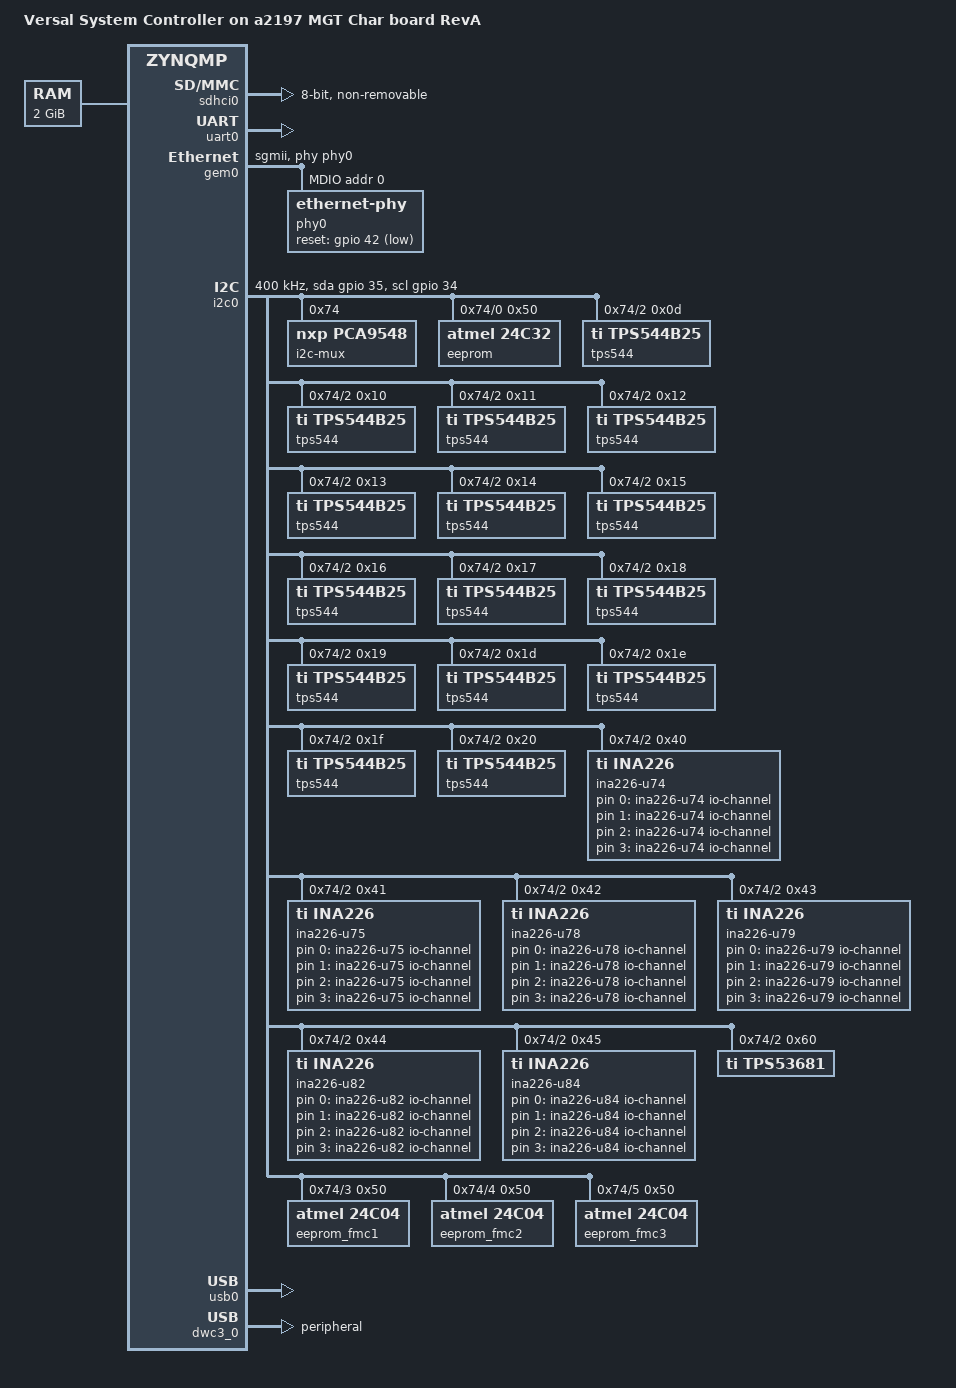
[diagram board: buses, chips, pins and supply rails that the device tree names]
// SPDX-License-Identifier: GPL-2.0
/*
 * dts file for Xilinx Versal a2197 RevA System Controller on MGT
 *
 * (C) Copyright 2019, Xilinx, Inc.
 *
 * Michal Simek <michal.simek@amd.com>
 */
/dts-v1/;

#include "zynqmp.dtsi"
#include "zynqmp-clk-ccf.dtsi"
#include <dt-bindings/gpio/gpio.h>

/ {
	model = "Versal System Controller on a2197 MGT Char board RevA";
	compatible = "xlnx,zynqmp-g-a2197-00-revA", "xlnx,zynqmp-a2197-revA",
		     "xlnx,zynqmp-a2197", "xlnx,zynqmp";

	aliases {
		ethernet0 = &gem0;
		i2c0 = &i2c0;
		mmc0 = &sdhci0;
		nvmem0 = &eeprom;
		rtc0 = &rtc;
		serial0 = &uart0;
		serial1 = &dcc;
		usb0 = &usb0;
	};

	chosen {
		bootargs = "earlycon";
		stdout-path = "serial0:115200n8";
	};

	memory@0 {
		device_type = "memory";
		reg = <0x0 0x0 0x0 0x80000000>;
	};

	ina226-u74 {
		compatible = "iio-hwmon";
		io-channels = <&u74 0>, <&u74 1>, <&u74 2>, <&u74 3>;
	};
	ina226-u75 {
		compatible = "iio-hwmon";
		io-channels = <&u75 0>, <&u75 1>, <&u75 2>, <&u75 3>;
	};
	ina226-u78 {
		compatible = "iio-hwmon";
		io-channels = <&u78 0>, <&u78 1>, <&u78 2>, <&u78 3>;
	};
	ina226-u79 {
		compatible = "iio-hwmon";
		io-channels = <&u79 0>, <&u79 1>, <&u79 2>, <&u79 3>;
	};
	ina226-u82 {
		compatible = "iio-hwmon";
		io-channels = <&u82 0>, <&u82 1>, <&u82 2>, <&u82 3>;
	};
	ina226-u84 {
		compatible = "iio-hwmon";
		io-channels = <&u84 0>, <&u84 1>, <&u84 2>, <&u84 3>;
	};
};

&sdhci0 { /* emmc MIO 13-23 16GB */
	status = "okay";
	non-removable;
	disable-wp;
	bus-width = <8>;
	xlnx,mio-bank = <0>;
};

&uart0 { /* uart0 MIO38-39 */
	status = "okay";
};

&gem0 { /* eth MDIO 76/77 */
	status = "okay";
	phy-handle = <&phy0>;
	phy-mode = "sgmii";
	is-internal-pcspma;
	mdio: mdio {
		#address-cells = <1>;
		#size-cells = <0>;
		phy0: ethernet-phy@0 { /* marwell m88e1512 */
			reg = <0>;
			reset-gpios = <&gpio 42 GPIO_ACTIVE_LOW>;
/*		xlnx,phy-type = <PHY_TYPE_SGMII>; */
		};
	};
};

&gpio {
	status = "okay";
	gpio-line-names = "", "", "", "", "", /* 0 - 4 */
		  "", "", "", "", "", /* 5 - 9 */
		  "", "", "", "EMMC_DAT0", "EMMC_DAT1", /* 10 - 14 */
		  "EMMC_DAT2", "EMMC_DAT3", "EMMC_DAT4", "EMMC_DAT5", "EMMC_DAT6", /* 15 - 19 */
		  "EMMC_DAT7", "EMMC_CMD", "EMMC_CLK", "EMMC_RST_B", "", /* 20 - 24 */
		  "", "", "", "", "", /* 25 - 29 */
		  "", "", "", "", "LP_I2C0_PMC_SCL", /* 30 - 34 */
		  "LP_I2C0_PMC_SDA", "", "", "UART0_RXD_IN", "UART0_TXD_OUT", /* 35 - 39 */
		  "", "", "ETH_RESET_B", "", "", /* 40 - 44 */
		  "", "", "", "", "", /* 45 - 49 */
		  "", "", "USB0_CLK", "USB0_DIR", "USB0_DATA2", /* 50 - 54 */
		  "USB0_NXT", "USB0_DATA0", "USB0_DATA1", "USB0_STP", "USB0_DATA3", /* 55 - 59 */
		  "USB0_DATA4", "USB0_DATA5", "USB0_DATA6", "USB0_DATA7", "", /* 60 - 64 */
		  "", "", "", "", "", /* 65 - 69 */
		  "", "", "", "", "", /* 70 - 74 */
		  "", "ETH_MDC", "ETH_MDIO", /* 75 - 77, MIO end and EMIO start */
		  "SYSCTLR_VERSAL_MODE0", "SYSCTLR_VERSAL_MODE1", /* 78 - 79 */
		  "SYSCTLR_VERSAL_MODE2", "SYSCTLR_VERSAL_MODE3", "SYSCTLR_POR_B_LS", "DC_PRSNT", "SYSCTLR_POWER_EN", /* 80 - 84 */
		  "SYSCTLR_JTAG_S0", "SYSCTLR_JTAG_S1", "SYSCTLR_IIC_MUX0_RESET_B", "SYSCTLR_IIC_MUX1_RESET_B", "SYSCTLR_LP_I2C_SM_ALERT", /* 85 -89 */
		  "SYSCTLR_GPIO0", "SYSCTLR_GPIO1", "SYSCTLR_GPIO2", "SYSCTLR_GPIO3", "SYSCTLR_GPIO4", /* 90 - 94 */
		  "SYSCTLR_GPIO5", "VCCO_500_RBIAS", "VCCO_501_RBIAS", "VCCO_502_RBIAS", "VCCO_500_RBIAS_LED", /* 95 - 99 */
		  "VCCO_501_RBIAS_LED", "VCCO_502_RBIAS_LED", "SYSCTLR_VCCINT_EN", "SYSCTLR_VCC_IO_SOC_EN", "SYSCTLR_VCC_PMC_EN", /* 100 - 104 */
		  "SYSCTLR_VCC_RAM_EN", "SYSCTLR_VCC_PSLP_EN", "SYSCTLR_VCC_PSFP_EN", "SYSCTLR_VCCAUX_EN", "SYSCTLR_VCCAUX_PMC_EN", /* 105 - 109 */
		  "SYSCTLR_VCCO_500_EN", "SYSCTLR_VCCO_501_EN", "SYSCTLR_VCCO_502_EN", "SYSCTLR_VCCO_503_EN", "SYSCTLR_VCC1V8_EN", /* 110 - 114 */
		  "SYSCTLR_VCC3V3_EN", "SYSCTLR_VCC1V2_DDR4_EN", "SYSCTLR_VCC1V1_LP4_EN", "SYSCTLR_VDD1_1V8_LP4_EN", "SYSCTLR_VADJ_FMC_EN", /* 115 - 119 */
		  "SYSCTLR_MGTYAVCC_EN", "SYSCTLR_MGTYAVTT_EN", "SYSCTLR_MGTYVCCAUX_EN", "SYSCTLR_UTIL_1V13_EN", "SYSCTLR_UTIL_1V8_EN", /* 120 - 124 */
		  "SYSCTLR_UTIL_2V5_EN", "FMCP1_FMC_PRSNT_M2C_B", "FMCP2_FMC_PRSNT_M2C_B", "FMCP1_FMCP_PRSNT_M2C_B", "FMCP2_FMCP_PRSNT_M2C_B", /* 125 - 129 */
		  "PMBUS1_INA226_ALERT", "PMBUS2_INA226_ALERT", "SYSCTLR_USBC_SBU1", "SYSCTLR_USBC_SBU2", "TI_CABLE1", /* 130 - 134 */
		  "TI_CABLE2", "SYSCTLR_MIC2005_EN_B", "SYSCTLR_MIC2005_FAULT_B", "SYSCTLR_TUSB320_INT_B", "SYSCTLR_TUSB320_ID", /* 135 - 139 */
		  "PMBUS1_ALERT", "PMBUS2_ALERT", "SYSCTLR_ETH_RESET_B", "SYSCTLR_VCC0V85_TG", "MAX6643_OT_B", /* 140 - 144 */
		  "MAX6643_FANFINAL_B", "MAX6643_FULLSPD", "", "", "", /* 145 - 149 */
		  "", "", "", "", "", /* 150 - 154 */
		  "", "", "", "", "", /* 155 - 159 */
		  "", "", "", "", "", /* 160 - 164 */
		  "", "", "", "", "", /* 165 - 169 */
		  "", "", "", ""; /* 170 - 173 */
};

&i2c0 { /* MIO 34-35 - can't stay here */
	status = "okay";
	clock-frequency = <400000>;
	scl-gpios = <&gpio 34 (GPIO_ACTIVE_HIGH | GPIO_OPEN_DRAIN)>;
	sda-gpios = <&gpio 35 (GPIO_ACTIVE_HIGH | GPIO_OPEN_DRAIN)>;
	i2c-mux@74 { /* u94 */
		compatible = "nxp,pca9548";
		#address-cells = <1>;
		#size-cells = <0>;
		reg = <0x74>;
		/* FIXME reset connected to SYSCTRL_IIC_MUX0_RESET */
		i2c@0 {
			#address-cells = <1>;
			#size-cells = <0>;
			reg = <0>;
			/* Use for storing information about SC board */
			eeprom: eeprom@50 { /* u96 - 24LC32A - 256B */
				compatible = "atmel,24c32";
				reg = <0x50>;
			};
		};
		i2c@1 { /* CM_I2C_SCL - Samtec */
			#address-cells = <1>;
			#size-cells = <0>;
			reg = <1>;
		};
		i2c@2 { /* PMBUS - AFX_PMBUS */
			#address-cells = <1>;
			#size-cells = <0>;
			reg = <2>;
			tps544@d { /* u85 */
				compatible = "ti,tps544b25";
				reg = <0xd>;
			};
			tps544@10 { /* u73 */
				compatible = "ti,tps544b25";
				reg = <0x10>;
			};
			tps544@11 { /* u76 */
				compatible = "ti,tps544b25";
				reg = <0x11>;
			};
			tps544@12 { /* u77 */
				compatible = "ti,tps544b25";
				reg = <0x12>;
			};
			tps544@13 { /* u80 */
				compatible = "ti,tps544b25";
				reg = <0x13>;
			};
			tps544@14 { /* u81 */
				compatible = "ti,tps544b25";
				reg = <0x14>;
			};
			tps544@15 { /* u83 */
				compatible = "ti,tps544b25";
				reg = <0x15>;
			};
			tps544@16 { /* u63 */
				compatible = "ti,tps544b25";
				reg = <0x16>;
			};
			tps544@17 { /* u66 */
				compatible = "ti,tps544b25";
				reg = <0x17>;
			};
			tps544@18 { /* u67 */
				compatible = "ti,tps544b25";
				reg = <0x18>;
			};
			tps544@19 { /* u69 */
				compatible = "ti,tps544b25";
				reg = <0x19>;
			};
			tps544@1d { /* u88 */
				compatible = "ti,tps544b25";
				reg = <0x1d>;
			};
			tps544@1e { /* u89 */
				compatible = "ti,tps544b25";
				reg = <0x1e>;
			};
			tps544@1f { /* u87 */
				compatible = "ti,tps544b25";
				reg = <0x1f>;
			};
			tps544@20 { /* u71 */
				compatible = "ti,tps544b25";
				reg = <0x20>;
			};
			u74: ina226@40 { /* u74 */
				compatible = "ti,ina226";
				#io-channel-cells = <1>;
				label = "ina226-u74";
				reg = <0x40>;
				shunt-resistor = <1000>;
			};
			u75: ina226@41 { /* u75 */
				compatible = "ti,ina226";
				#io-channel-cells = <1>;
				label = "ina226-u75";
				reg = <0x41>;
				shunt-resistor = <1000>;
			};
			u78: ina226@42 { /* u78 */
				compatible = "ti,ina226";
				#io-channel-cells = <1>;
				label = "ina226-u78";
				reg = <0x42>;
				shunt-resistor = <5000>;
			};
			u79: ina226@43 { /* u79 */
				compatible = "ti,ina226";
				#io-channel-cells = <1>;
				label = "ina226-u79";
				reg = <0x43>;
				shunt-resistor = <1000>;
			};
			u82: ina226@44 { /* u82 */
				compatible = "ti,ina226";
				#io-channel-cells = <1>;
				label = "ina226-u82";
				reg = <0x44>;
				shunt-resistor = <1000>;
			};
			u84: ina226@45 { /* u84 */
				compatible = "ti,ina226";
				#io-channel-cells = <1>;
				label = "ina226-u84";
				reg = <0x45>;
				shunt-resistor = <5000>;
			};
			tps53681@60 { /* u53 - 0xc0 - FIXME name - don't know what it does - also vcc_io_soc */
				compatible = "ti,tps53681", "ti,tps53679";
				reg = <0x60>;
			};
		};
		i2c@3 { /* fmc1 via JA2G */
			#address-cells = <1>;
			#size-cells = <0>;
			reg = <3>;
			eeprom_fmc1: eeprom@50 { /* on FMC */
				compatible = "atmel,24c04";
				reg = <0x50>;
			};
		};
		i2c@4 { /* fmc2 via JA3G */
			#address-cells = <1>;
			#size-cells = <0>;
			reg = <4>;
			eeprom_fmc2: eeprom@50 { /* on FMC */
				compatible = "atmel,24c04";
				reg = <0x50>;
			};
		};
		i2c@5 { /* fmc3 via JA4G */
			#address-cells = <1>;
			#size-cells = <0>;
			reg = <5>;
			eeprom_fmc3: eeprom@50 { /* on FMC */
				compatible = "atmel,24c04";
				reg = <0x50>;
			};
		};
		i2c@6 { /* ddr dimm */
			#address-cells = <1>;
			#size-cells = <0>;
			reg = <7>;
		};
		/* 7 unused */
	};
};

&usb0 { /* USB0 MIO52-63 */
	status = "okay";
};

&dwc3_0 {
	status = "okay";
	dr_mode = "peripheral";
	maximum-speed = "high-speed";
};
